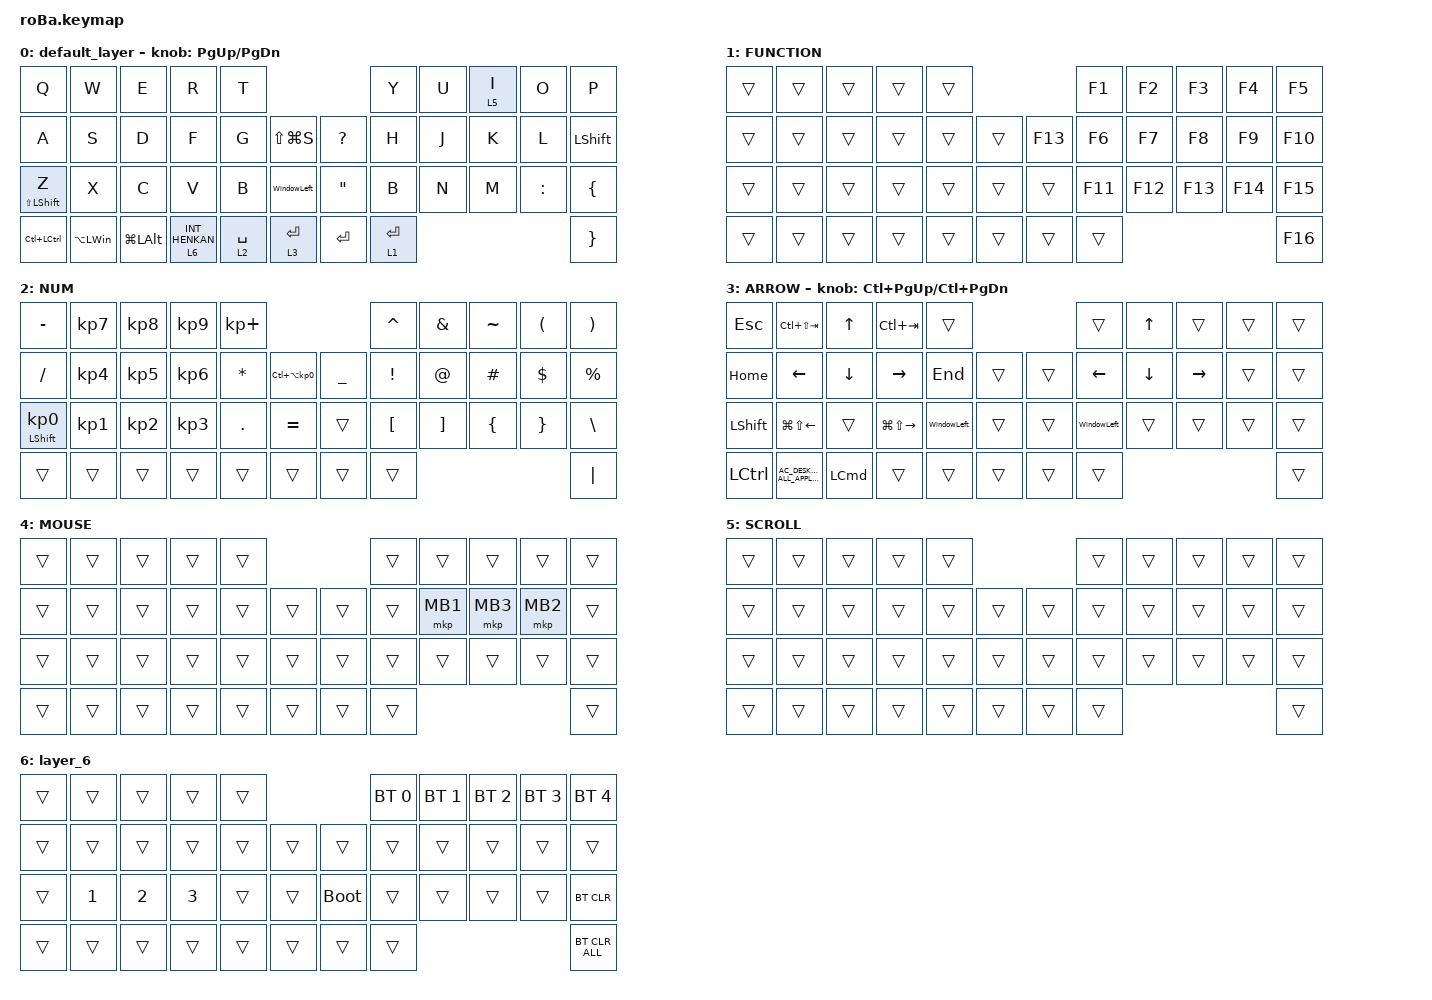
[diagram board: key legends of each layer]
#include <behaviors.dtsi>
#include <dt-bindings/zmk/bt.h>
#include <dt-bindings/zmk/keys.h>
#include <dt-bindings/zmk/pointing.h>

&mt {
    flavor = "balanced";
    quick-tap-ms = <0>;
};

&trackball {
    automouse-layer = <4>;
    scroll-layers = <5>;

    // arrows {
    //     layers = <3>;
    //     bindings =
    //         <&kp RIGHT_ARROW>,
    //         <&kp LEFT_ARROW>,
    //         <&kp UP_ARROW>,
    //         <&kp DOWN_ARROW>;
    //     tick = <10>;
    //     wait-ms = <5>;
    //     tap-ms = <5>;
    // };
};

/ {
    combos {
        compatible = "zmk,combos";

        tab {
            bindings = <&kp TAB>;
            key-positions = <11 12>;
        };

        shift_tab {
            bindings = <&kp LS(TAB)>;
            key-positions = <12 13>;
        };

        muhennkann {
            bindings = <&to_layer_0 INT_MUHENKAN>;
            key-positions = <11 10>;
        };

        double_quotation {
            bindings = <&kp DOUBLE_QUOTES>;
            key-positions = <20 21>;
        };

        eq {
            bindings = <&kp EQUAL>;
            key-positions = <24 25>;
        };
    };

    macros {
        to_layer_0: to_layer_0 {
            compatible = "zmk,behavior-macro-one-param";
            #binding-cells = <1>;
            bindings = <&to 0 &macro_param_1to1 &kp MACRO_PLACEHOLDER>;
            label = "TO_LAYER_0";
        };

        WindowLeft: window {
            compatible = "zmk,behavior-macro";
            #binding-cells = <0>;
            bindings = <&kp LC(LA(LG(LEFT_ARROW)))>;
            label = "WINDOW";
        };

        windoiwRight: windoiwRight {
            compatible = "zmk,behavior-macro";
            #binding-cells = <0>;
            bindings = <&kp LC(LA(LG(RIGHT_ARROW)))>;
            label = "WINDOIWRIGHT";
        };
    };

    behaviors {
        lt_to_layer_0: lt_to_layer_0 {
            compatible = "zmk,behavior-hold-tap";
            label = "LAYER_TAP_TO_0";
            bindings = <&mo>, <&to_layer_0>;

            #binding-cells = <2>;
            tapping-term-ms = <200>;
        };
        
        // シンプルな代替案: タップで変換キー、ホールドでレイヤー6
        henkan_layer: henkan_layer {
            compatible = "zmk,behavior-hold-tap";
            label = "HENKAN_LAYER";
            bindings = <&mo>, <&kp>;

            #binding-cells = <2>;
            tapping-term-ms = <200>;
            flavor = "tap-preferred";
        };
    };

    keymap {
        compatible = "zmk,keymap";

        default_layer {
            bindings = <
&kp Q                 &kp W             &kp E             &kp R                        &kp T                                              &kp Y        &kp U  &lt 5 I  &kp O      &kp P
&kp A                 &kp S             &kp D             &kp F                        &kp G        &kp LS(LG(S))      &kp QUESTION       &kp H        &kp J  &kp K    &kp L      &kp LSHIFT
&mt LS(LEFT_SHIFT) Z  &kp X             &kp C             &kp V                        &kp B        &WindowLeft        &kp DOUBLE_QUOTES  &kp B        &kp N  &kp M    &kp COLON  &kp LEFT_BRACE
&kp LC(LCTRL)         &kp LA(LEFT_WIN)  &kp LG(LEFT_ALT)  &henkan_layer 6 INT_HENKAN   &lt 2 SPACE  &lt 3 ENTER        &kp ENTER          &lt 1 ENTER                             &kp RIGHT_BRACE
            >;

            sensor-bindings = <&inc_dec_kp PG_UP PAGE_DOWN>;
        };

        FUNCTION {
            bindings = <
&trans  &trans  &trans  &trans  &trans                       &kp F1   &kp F2   &kp F3   &kp F4   &kp F5
&trans  &trans  &trans  &trans  &trans  &trans      &kp F13  &kp F6   &kp F7   &kp F8   &kp F9   &kp F10
&trans  &trans  &trans  &trans  &trans  &trans      &trans   &kp F11  &kp F12  &kp F13  &kp F14  &kp F15
&trans  &trans  &trans  &trans  &trans  &trans      &trans   &trans                              &kp F16
            >;
        };

        NUM {
            bindings = <
&kp MINUS                   &kp KP_NUMBER_7  &kp KP_NUMBER_8  &kp KP_NUMBER_9  &kp KP_PLUS                                                &kp CARET         &kp AMPERSAND      &kp TILDE       &kp LEFT_PARENTHESIS  &kp RIGHT_PARENTHESIS
&kp SLASH                   &kp KP_NUMBER_4  &kp KP_NUMBER_5  &kp KP_NUMBER_6  &kp ASTERISK  &kp LC(LA(KP_NUMBER_0))      &kp UNDERSCORE  &kp EXCLAMATION   &kp AT_SIGN        &kp HASH        &kp DOLLAR            &kp PERCENT
&mt LEFT_SHIFT KP_NUMBER_0  &kp KP_NUMBER_1  &kp KP_NUMBER_2  &kp KP_NUMBER_3  &kp PERIOD    &kp EQUAL                    &trans          &kp LEFT_BRACKET  &kp RIGHT_BRACKET  &kp LEFT_BRACE  &kp RIGHT_BRACE       &kp BACKSLASH
&trans                      &trans           &trans           &trans           &trans        &trans                       &trans          &trans                                                                     &kp PIPE
            >;
        };

        ARROW {
            bindings = <
&kp ESCAPE      &kp LC(LS(TAB))                         &kp UP_ARROW      &kp LC(TAB)              &trans                           &trans          &kp UP_ARROW    &trans     &trans  &trans
&kp HOME        &kp LEFT_ARROW                          &kp DOWN_ARROW    &kp RIGHT_ARROW          &kp END      &trans      &trans  &kp LEFT_ARROW  &kp DOWN_ARROW  &kp RIGHT  &trans  &trans
&kp LEFT_SHIFT  &kp LG(LS(LEFT_ARROW))                  &trans            &kp LG(LS(RIGHT_ARROW))  &WindowLeft  &trans      &trans  &WindowLeft     &trans          &trans     &trans  &trans
&kp LCTRL       &kp C_AC_DESKTOP_SHOW_ALL_APPLICATIONS  &kp LEFT_COMMAND  &trans                   &trans       &trans      &trans  &trans                                             &trans
            >;

            sensor-bindings = <&inc_dec_kp LC(PAGE_UP) LC(PAGE_DOWN)>;
        };

        MOUSE {
            bindings = <
&trans  &trans  &trans  &trans  &trans                      &trans  &trans    &trans    &trans    &trans
&trans  &trans  &trans  &trans  &trans  &trans      &trans  &trans  &mkp MB1  &mkp MB3  &mkp MB2  &trans
&trans  &trans  &trans  &trans  &trans  &trans      &trans  &trans  &trans    &trans    &trans    &trans
&trans  &trans  &trans  &trans  &trans  &trans      &trans  &trans                                &trans
            >;
        };

        SCROLL {
            bindings = <
&trans  &trans  &trans  &trans  &trans                      &trans  &trans  &trans  &trans  &trans
&trans  &trans  &trans  &trans  &trans  &trans      &trans  &trans  &trans  &trans  &trans  &trans
&trans  &trans  &trans  &trans  &trans  &trans      &trans  &trans  &trans  &trans  &trans  &trans
&trans  &trans  &trans  &trans  &trans  &trans      &trans  &trans                          &trans
            >;
        };

        layer_6 {
            bindings = <
&trans  &trans        &trans        &trans        &trans                           &bt BT_SEL 0  &bt BT_SEL 1  &bt BT_SEL 2  &bt BT_SEL 3  &bt BT_SEL 4
&trans  &trans        &trans        &trans        &trans  &trans      &trans       &trans        &trans        &trans        &trans        &trans
&trans  &kp NUMBER_1  &kp NUMBER_2  &kp NUMBER_3  &trans  &trans      &bootloader  &trans        &trans        &trans        &trans        &bt BT_CLR
&trans  &trans        &trans        &trans        &trans  &trans      &trans       &trans                                                  &bt BT_CLR_ALL
            >;
        };
    };
};
